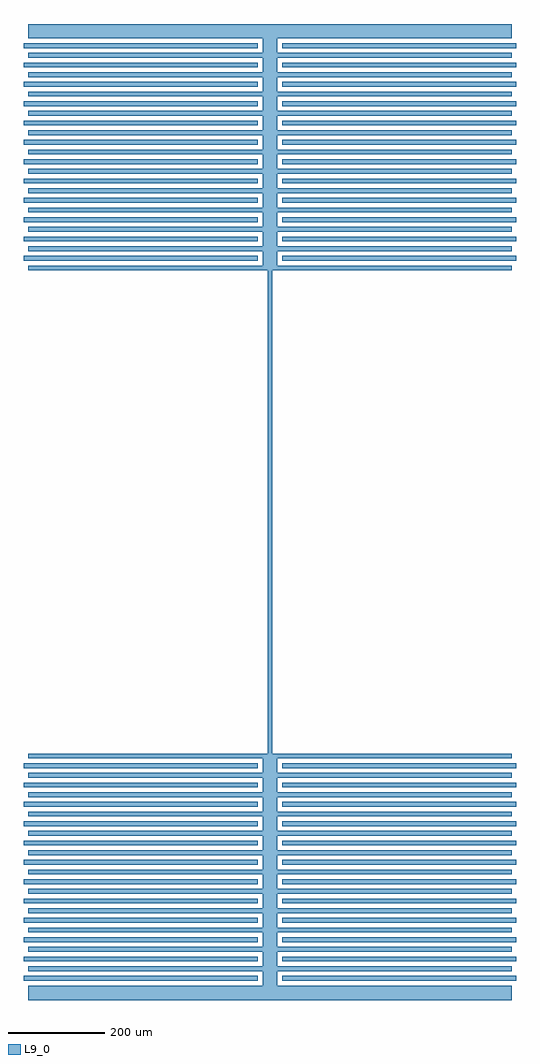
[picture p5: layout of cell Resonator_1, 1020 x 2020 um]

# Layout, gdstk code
import gdstk
lib = gdstk.Library(unit=1e-6, precision=1e-09)
def R(c, l, rs):  # rectangles x0, y0, x1, y1
    for r in rs: c.add(gdstk.rectangle(r[:2], r[2:], *l))
L9_0 = (9, 0)

idc_section = lib.new_cell('IDC_section')
R(idc_section, L9_0, [(-5760,145,-5275,155), (-5225,145,-4740,155), (-5750,165,-5265,175), (-5235,165,-4750,175)])

idc10_24 = lib.new_cell('IDC10_24')
R(idc10_24, L9_0, [(-5750,105,-4750,135), (-5265,135,-5235,615)])
r = gdstk.Reference(idc_section, (0,0)); r.repetition = gdstk.Repetition(1, 12, v1=(1020,0), v2=(0,40)); idc10_24.add(r)

resonator_1 = lib.new_cell('Resonator_1')
R(resonator_1, L9_0, [(-5255,615,-5245,1615)])
resonator_1.add(gdstk.Reference(idc10_24, (0,0)))
resonator_1.add(gdstk.Reference(idc10_24, (0,2230), x_reflection=True))

lib.write_gds('Resonator_1.gds')
